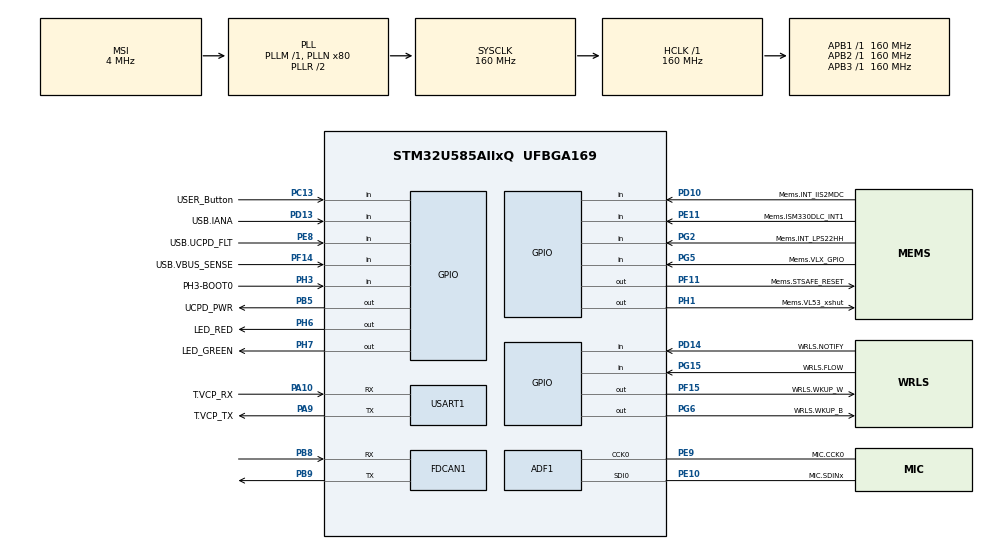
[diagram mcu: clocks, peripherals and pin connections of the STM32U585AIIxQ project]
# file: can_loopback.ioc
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CORTEX_M33_NS.userName=CORTEX_M33
FDCAN1.CalculateBaudRateNominal=1000000
FDCAN1.CalculateTimeBitNominal=1000
FDCAN1.CalculateTimeQuantumNominal=50.0
FDCAN1.DataPrescaler=4
FDCAN1.DataTimeSeg1=15
FDCAN1.DataTimeSeg2=4
FDCAN1.Mode=FDCAN_MODE_EXTERNAL_LOOPBACK
FDCAN1.NominalPrescaler=8
FDCAN1.NominalSyncJumpWidth=1
FDCAN1.NominalTimeSeg1=15
FDCAN1.NominalTimeSeg2=4
Mcu.Family=STM32U5
Mcu.Name=STM32U585AIIxQ
Mcu.Package=UFBGA169
NVIC.PriorityGroup=NVIC_PRIORITYGROUP_4
PA10.GPIO_Label=T.VCP_RX
PA10.Mode=Asynchronous
PA10.Signal=USART1_RX
PA11.GPIO_Label=USB.C_P
PA11.Signal=USB_OTG_FS_DM
PA12.GPIO_Label=USB.C_P
PA12.Signal=USB_OTG_FS_DP
PA13\ (JTMS/SWDIO).GPIO_Label=T.SWDIO
PA13\ (JTMS/SWDIO).Mode=Trace_Asynchronous_SW
PA13\ (JTMS/SWDIO).Signal=DEBUG_JTMS-SWDIO
PA14\ (JTCK/SWCLK).GPIO_Label=T.SWCLK
PA14\ (JTCK/SWCLK).Mode=Trace_Asynchronous_SW
PA14\ (JTCK/SWCLK).Signal=DEBUG_JTCK-SWCLK
PA15\ (JTDI).GPIO_Label=USB.UCPD_CC1
PA15\ (JTDI).Signal=UCPD1_CC1
PA9.GPIO_Label=T.VCP_TX
PA9.Mode=Asynchronous
PA9.Signal=USART1_TX
PB1.GPIO_Label=MIC.SDIN0
PB1.Signal=MDF1_SDI0
PB10.GPIO_Label=OCTOSPI.R_CLK_P
PB10.Signal=OCTOSPIM_P1_CLK
PB11.GPIO_Label=OCTOSPI.R_NCS
PB11.Signal=OCTOSPIM_P1_NCS
PB12.GPIO_Label=WRLS.SPI2_NSS
PB12.Signal=SPI2_NSS
PB15.GPIO_Label=USB.UCPD_CC2
PB15.Signal=UCPD1_CC2
PB3\ (JTDO/TRACESWO).GPIO_Label=T.SWO
PB3\ (JTDO/TRACESWO).Mode=Trace_Asynchronous_SW
PB3\ (JTDO/TRACESWO).Signal=DEBUG_JTDO-SWO
PB5.GPIO_Label=UCPD_PWR
PB5.Signal=GPIO_Output
PB8.Mode=FDCAN_Activate
PB8.Signal=FDCAN1_RX
PB9.Mode=FDCAN_Activate
PB9.Signal=FDCAN1_TX
PC10.GPIO_Label=WRLS.UART4_TX
PC10.Signal=UART4_TX
PC11.GPIO_Label=WRLS.UART4_RX
PC11.Signal=UART4_RX
PC13.GPIO_Label=USER_Button
PC13.Signal=GPIO_Input
PC14-OSC32_IN\ (PC14).GPIO_Label=PC14-OSC32_IN
PC14-OSC32_IN\ (PC14).Mode=LSE-External-Oscillator
PC14-OSC32_IN\ (PC14).Signal=RCC_OSC32_IN
PC15-OSC32_OUT\ (PC15).GPIO_Label=PC15-OSC32_OUT
PC15-OSC32_OUT\ (PC15).Mode=LSE-External-Oscillator
PC15-OSC32_OUT\ (PC15).Signal=RCC_OSC32_OUT
PC3.GPIO_Label=OCTOSPI.R_IO6
PC3.Signal=OCTOSPIM_P1_IO6
PD1.GPIO_Label=WRLS.SPI2_SCK
PD1.Signal=SPI2_SCK
PD10.GPIO_Label=Mems.INT_IIS2MDC
PD10.Signal=GPIO_Input
PD13.GPIO_Label=USB.IANA
PD13.Signal=GPIO_Input
PD14.GPIO_Label=WRLS.NOTIFY
PD14.Signal=GPIO_Input
PD3.GPIO_Label=WRLS.SPI2_MISO
PD3.Signal=SPI2_MISO
PD4.GPIO_Label=WRLS.SPI2_MOSI
PD4.Signal=SPI2_MOSI
PD7.GPIO_Label=OCTOSPI.R_IO7
PD7.Signal=OCTOSPIM_P1_IO7
PE10.GPIO_Label=MIC.SDINx
PE10.Mode=MOD_ADF_CCK
PE10.Signal=ADF1_SDI0
PE11.GPIO_Label=Mems.ISM330DLC_INT1
PE11.Signal=GPIO_Input
PE3.GPIO_Label=OCTOSPI.R_DQS
PE3.Signal=OCTOSPIM_P1_DQS
PE8.GPIO_Label=USB.UCPD_FLT
PE8.Signal=GPIO_Input
PE9.GPIO_Label=MIC.CCK0
PE9.Mode=MOD_MDF_CCK0
PE9.Signal=ADF1_CCK0
PF0.GPIO_Label=OCTOSPI.F_IO0
PF0.Signal=OCTOSPIM_P2_IO0
PF1.GPIO_Label=OCTOSPI.F_IO1
PF1.Signal=OCTOSPIM_P2_IO1
PF10.GPIO_Label=MIC.CCK1
PF10.Signal=MDF1_CCK1
PF11.GPIO_Label=Mems.STSAFE_RESET
PF11.Signal=GPIO_Output
PF12.GPIO_Label=OCTOSPI.F_DQS
PF12.Signal=OCTOSPIM_P2_DQS
PF14.GPIO_Label=USB.VBUS_SENSE
PF14.Signal=GPIO_Input
PF15.GPIO_Label=WRLS.WKUP_W
PF15.Signal=GPIO_Output
PF2.GPIO_Label=OCTOSPI.F_IO2
PF2.Signal=OCTOSPIM_P2_IO2
PF3.GPIO_Label=OCTOSPI.F_IO3
PF3.Signal=OCTOSPIM_P2_IO3
PF4.GPIO_Label=OCTOSPI.F_CLK_P
PF4.Signal=OCTOSPIM_P2_CLK
PF6.GPIO_Label=OCTOSPI.R_IO3
PF6.Signal=OCTOSPIM_P1_IO3
PF7.GPIO_Label=OCTOSPI.R_IO2
PF7.Signal=OCTOSPIM_P1_IO2
PF8.GPIO_Label=OCTOSPI.R_IO0
PF8.Signal=OCTOSPIM_P1_IO0
PF9.GPIO_Label=OCTOSPI.R_IO1
PF9.Signal=OCTOSPIM_P1_IO1
PG15.GPIO_Label=WRLS.FLOW
PG15.Signal=GPIO_Input
PG2.GPIO_Label=Mems.INT_LPS22HH
PG2.Signal=GPIO_Input
PG5.GPIO_Label=Mems.VLX_GPIO
PG5.Signal=GPIO_Input
PG6.GPIO_Label=WRLS.WKUP_B
PG6.Signal=GPIO_Output
PH1-OSC_OUT\ (PH1).GPIO_Label=Mems.VL53_xshut
PH1-OSC_OUT\ (PH1).Signal=GPIO_Output
PH10.GPIO_Label=OCTOSPI.F_IO5
PH10.Signal=OCTOSPIM_P2_IO5
PH11.GPIO_Label=OCTOSPI.F_IO6
PH11.Signal=OCTOSPIM_P2_IO6
PH12.GPIO_Label=OCTOSPI.F_IO7
PH12.Signal=OCTOSPIM_P2_IO7
PH2.GPIO_Label=OCTOSPI.R_IO4
PH2.Signal=OCTOSPIM_P1_IO4
PH3-BOOT0.GPIO_Label=PH3-BOOT0
PH3-BOOT0.Signal=GPIO_Input
PH4.Signal=I2C2_SCL
PH5.Signal=I2C2_SDA
PH6.GPIO_Label=LED_RED
PH6.Signal=GPIO_Output
PH7.GPIO_Label=LED_GREEN
PH7.Signal=GPIO_Output
PH9.GPIO_Label=OCTOSPI.F_IO4
PH9.Signal=OCTOSPIM_P2_IO4
PI0.GPIO_Label=OCTOSPI.R_IO5
PI0.Signal=OCTOSPIM_P1_IO5
PI5.GPIO_Label=OCTOSPI.F_NCS
PI5.Signal=OCTOSPIM_P2_NCS
PWR.PowerMode=PWR_SMPS_SUPPLY
ProjectManager.HeapSize=0x200
ProjectManager.StackSize=0x400
ProjectManager.TargetToolchain=STM32CubeIDE
RCC.ADCFreq_Value=16000000
RCC.AHBFreq_Value=160000000
RCC.APB1Freq_Value=160000000
RCC.APB1TimFreq_Value=160000000
RCC.APB2Freq_Value=160000000
RCC.APB2TimFreq_Value=160000000
RCC.APB3Freq_Value=160000000
RCC.CortexFreq_Value=160000000
RCC.DACCLockSelectionVirtual=RCC_DAC1CLKSOURCE_LSI
RCC.EPOD_VALUE=4000000
RCC.HCLKFreq_Value=160000000
RCC.HSE_VALUE=16000000
RCC.HSI48_VALUE=48000000
RCC.HSI_VALUE=16000000
RCC.LSIDIV_VALUE=32000
RCC.MSI_VALUE=4000000
RCC.PLLN=80
RCC.SYSCLKFreq_VALUE=160000000
RCC.SYSCLKSource=RCC_SYSCLKSOURCE_PLLCLK
RCC.USBFreq_Value=48000000
RCC.VCOOutputFreq_Value=320000000
USART1.VirtualMode-Asynchronous=VM_ASYNC
VP_ICACHE_VS_ICACHE.Mode=DirectMappedCache
VP_LPBAMQUEUE_VS_QUEUE.Mode=QUEUEMODE
VP_LPBAM_VS_SIG1.Mode=SmartRun
VP_LPBAM_VS_SIG4.Mode=LPDMA1
VP_MEMORYMAP_VS_MEMORYMAP.Mode=CurAppReg
VP_PWR_VS_DBSignals.Mode=DisableDeadBatterySignals
VP_PWR_VS_LPOM.Mode=PowerOptimisation
VP_PWR_VS_SECSignals.Mode=Security/Privilege
board=B-U585I-IOT02A

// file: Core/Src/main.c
/* USER CODE BEGIN Header */
/**
  ******************************************************************************
  * @file           : main.c
  * @brief          : Main program body
  ******************************************************************************
  * @attention
  *
  * Copyright (c) 2026 STMicroelectronics.
  * All rights reserved.
  *
  * This software is licensed under terms that can be found in the LICENSE file
  * in the root directory of this software component.
  * If no LICENSE file comes with this software, it is provided AS-IS.
  *
  ******************************************************************************
  */
/* USER CODE END Header */
#include "main.h"

/* USER CODE BEGIN Includes */
#include <stdio.h>
/* USER CODE END Includes */

MDF_HandleTypeDef AdfHandle0;
MDF_FilterConfigTypeDef AdfFilterConfig0;

FDCAN_HandleTypeDef hfdcan1;

UART_HandleTypeDef huart1;

/* USER CODE BEGIN PV */
static FDCAN_FilterTypeDef   sFilterConfig;
/* USER CODE END PV */

void SystemClock_Config(void);
static void SystemPower_Config(void);
static void MX_GPIO_Init(void);
static void MX_ADF1_Init(void);
static void MX_FDCAN1_Init(void);
static void MX_ICACHE_Init(void);
static void MX_USART1_UART_Init(void);

/* USER CODE BEGIN 0 */
int __io_putchar(int ch)
{
    /* Support printf over UART */
    (void)HAL_UART_Transmit(&huart1, (uint8_t*)&ch, 1, 0xFFFFU);
    return ch;
}

void my_fdcan1_transmit()
{
	FDCAN_TxHeaderTypeDef TxHeader;
	uint8_t TxData[] = {'S', 'T', 'M', '3','2','M','C','U'}; // Example data

	// 1. Configure the TX Header
	TxHeader.Identifier = 0x111U;                // CAN ID
	TxHeader.IdType = FDCAN_STANDARD_ID; //standard or extended
	TxHeader.TxFrameType = FDCAN_DATA_FRAME; //data frame or request frame
	//TODO: Data length
	TxHeader.DataLength = FDCAN_DLC_BYTES_8;    // Length 4 bytes
	TxHeader.ErrorStateIndicator = FDCAN_ESI_ACTIVE;
	TxHeader.BitRateSwitch = FDCAN_BRS_OFF;     // No BRS for classic CAN
	TxHeader.FDFormat = FDCAN_CLASSIC_CAN;      // Classic or FD format
	TxHeader.TxEventFifoControl = FDCAN_NO_TX_EVENTS;
	TxHeader.MessageMarker = 0;

	// 2. Transmit the message
	if (HAL_FDCAN_AddMessageToTxFifoQ(&hfdcan1, &TxHeader, TxData) != HAL_OK)
	{
		printf("Stm32u585 Error calling HAL_FDCAN_AddMessageToTxFifoQ\r\n");
	  // Transmission error
	  Error_Handler();
	}
	while(HAL_FDCAN_IsTxBufferMessagePending(&hfdcan1, FDCAN_TX_BUFFER0 | FDCAN_TX_BUFFER1 | FDCAN_TX_BUFFER2) != 0);
	printf("Stm32u585 Transmitted %lu bytes\r\n",TxHeader.DataLength);

}

void my_fdcan1_receive()
{
	FDCAN_RxHeaderTypeDef RxHeader;
	uint8_t RxData[16];

	/* check if FIFO 0 receive at least one message */
	while (HAL_FDCAN_GetRxFifoFillLevel(&hfdcan1, FDCAN_RX_FIFO0) < 1U);

	if(HAL_FDCAN_GetRxMessage(&hfdcan1, FDCAN_RX_FIFO0, &RxHeader, RxData) != HAL_OK)
	{
		printf("Stm32u585 Error calling HAL_FDCAN_GetRxMessage\r\n");
		Error_Handler();
	}
	else
	{
		printf("Message Received HAL_FDCAN_GetRxMessage\r\n");
		for(int i = 0; i < 8; ++i)
		{
			printf("RxData[%d] = %c\r\n",i,RxData[i]);
		}
	}
}

void my_config_filter()
{
	/* Configure Rx filter */
	sFilterConfig.IdType       = FDCAN_STANDARD_ID;
	sFilterConfig.FilterIndex  = 0U;
	sFilterConfig.FilterType   = FDCAN_FILTER_MASK;
	sFilterConfig.FilterConfig = FDCAN_FILTER_TO_RXFIFO0;
	sFilterConfig.FilterID1    = 0x111U;
	sFilterConfig.FilterID2    = 0x7FFU;
	if (HAL_FDCAN_ConfigFilter(&hfdcan1, &sFilterConfig) != HAL_OK) {
		printf("Stm32u585 Error calling HAL_FDCAN_ConfigFilter\r\n");
		Error_Handler();
	}
}
/* USER CODE END 0 */

int main(void)
{

  /* MCU Configuration--------------------------------------------------------*/

  /* Reset of all peripherals, Initializes the Flash interface and the Systick. */
  HAL_Init();

  /* Configure the System Power */
  SystemPower_Config();

  /* Configure the system clock */
  SystemClock_Config();

  /* Initialize all configured peripherals */
  MX_GPIO_Init();
  MX_ADF1_Init();
  MX_FDCAN1_Init();
  MX_ICACHE_Init();
  MX_USART1_UART_Init();

  /* Infinite loop */
  /* USER CODE BEGIN WHILE */

  /* Configure Config filter for Rx*/
  my_config_filter();
  /* Start the FDCANx module */
  if (HAL_FDCAN_Start(&hfdcan1) != HAL_OK)
  {
	  printf("Stm32u585 Error calling HAL_FDCAN_Start\r\n");
	  Error_Handler();
  }
  printf("Stm32u585 testing\r\n");

  my_fdcan1_transmit();

  my_fdcan1_receive();

  while (1)
  {
    /* USER CODE END WHILE */

  }
}

void SystemClock_Config(void)
{
  RCC_OscInitTypeDef RCC_OscInitStruct = {0};
  RCC_ClkInitTypeDef RCC_ClkInitStruct = {0};

  /** Configure the main internal regulator output voltage
  */
  if (HAL_PWREx_ControlVoltageScaling(PWR_REGULATOR_VOLTAGE_SCALE1) != HAL_OK)
  {
    Error_Handler();
  }

  /** Initializes the CPU, AHB and APB buses clocks
  */
  RCC_OscInitStruct.OscillatorType = RCC_OSCILLATORTYPE_MSI;
  RCC_OscInitStruct.MSIState = RCC_MSI_ON;
  RCC_OscInitStruct.MSICalibrationValue = RCC_MSICALIBRATION_DEFAULT;
  RCC_OscInitStruct.MSIClockRange = RCC_MSIRANGE_4;
  RCC_OscInitStruct.PLL.PLLState = RCC_PLL_ON;
  RCC_OscInitStruct.PLL.PLLSource = RCC_PLLSOURCE_MSI;
  RCC_OscInitStruct.PLL.PLLMBOOST = RCC_PLLMBOOST_DIV1;
  RCC_OscInitStruct.PLL.PLLM = 1;
  RCC_OscInitStruct.PLL.PLLN = 80;
  RCC_OscInitStruct.PLL.PLLP = 2;
  RCC_OscInitStruct.PLL.PLLQ = 2;
  RCC_OscInitStruct.PLL.PLLR = 2;
  RCC_OscInitStruct.PLL.PLLRGE = RCC_PLLVCIRANGE_0;
  RCC_OscInitStruct.PLL.PLLFRACN = 0;
  if (HAL_RCC_OscConfig(&RCC_OscInitStruct) != HAL_OK)
  {
    Error_Handler();
  }

  /** Initializes the CPU, AHB and APB buses clocks
  */
  RCC_ClkInitStruct.ClockType = RCC_CLOCKTYPE_HCLK|RCC_CLOCKTYPE_SYSCLK
                              |RCC_CLOCKTYPE_PCLK1|RCC_CLOCKTYPE_PCLK2
                              |RCC_CLOCKTYPE_PCLK3;
  RCC_ClkInitStruct.SYSCLKSource = RCC_SYSCLKSOURCE_PLLCLK;
  RCC_ClkInitStruct.AHBCLKDivider = RCC_SYSCLK_DIV1;
  RCC_ClkInitStruct.APB1CLKDivider = RCC_HCLK_DIV1;
  RCC_ClkInitStruct.APB2CLKDivider = RCC_HCLK_DIV1;
  RCC_ClkInitStruct.APB3CLKDivider = RCC_HCLK_DIV1;

  if (HAL_RCC_ClockConfig(&RCC_ClkInitStruct, FLASH_LATENCY_4) != HAL_OK)
  {
    Error_Handler();
  }
}

/**
  * @brief Power Configuration
  * @retval None
  */
static void SystemPower_Config(void)
{
  HAL_PWREx_EnableVddIO2();

  /*
   * Disable the internal Pull-Up in Dead Battery pins of UCPD peripheral
   */
  HAL_PWREx_DisableUCPDDeadBattery();

  /*
   * Switch to SMPS regulator instead of LDO
   */
  if (HAL_PWREx_ConfigSupply(PWR_SMPS_SUPPLY) != HAL_OK)
  {
    Error_Handler();
  }
}

static void MX_ADF1_Init(void)
{

  /**
    AdfHandle0 structure initialization and HAL_MDF_Init function call
  */
  AdfHandle0.Instance = ADF1_Filter0;
  AdfHandle0.Init.CommonParam.ProcClockDivider = 1;
  AdfHandle0.Init.CommonParam.OutputClock.Activation = DISABLE;
  AdfHandle0.Init.SerialInterface.Activation = ENABLE;
  AdfHandle0.Init.SerialInterface.Mode = MDF_SITF_LF_MASTER_SPI_MODE;
  AdfHandle0.Init.SerialInterface.ClockSource = MDF_SITF_CCK0_SOURCE;
  AdfHandle0.Init.SerialInterface.Threshold = 4;
  AdfHandle0.Init.FilterBistream = MDF_BITSTREAM0_FALLING;
  if (HAL_MDF_Init(&AdfHandle0) != HAL_OK)
  {
    Error_Handler();
  }

  /**
    AdfFilterConfig0 structure initialization

    WARNING : only structure is filled, no specific init function call for filter
  */
  AdfFilterConfig0.DataSource = MDF_DATA_SOURCE_BSMX;
  AdfFilterConfig0.Delay = 0;
  AdfFilterConfig0.CicMode = MDF_ONE_FILTER_SINC4;
  AdfFilterConfig0.DecimationRatio = 2;
  AdfFilterConfig0.Gain = 0;
  AdfFilterConfig0.ReshapeFilter.Activation = DISABLE;
  AdfFilterConfig0.HighPassFilter.Activation = DISABLE;
  AdfFilterConfig0.SoundActivity.Activation = DISABLE;
  AdfFilterConfig0.AcquisitionMode = MDF_MODE_ASYNC_CONT;
  AdfFilterConfig0.FifoThreshold = MDF_FIFO_THRESHOLD_NOT_EMPTY;
  AdfFilterConfig0.DiscardSamples = 0;

}

static void MX_FDCAN1_Init(void)
{

  hfdcan1.Instance = FDCAN1;
  hfdcan1.Init.ClockDivider = FDCAN_CLOCK_DIV1;
  hfdcan1.Init.FrameFormat = FDCAN_FRAME_CLASSIC;
  hfdcan1.Init.Mode = FDCAN_MODE_EXTERNAL_LOOPBACK;
  hfdcan1.Init.AutoRetransmission = DISABLE;
  hfdcan1.Init.TransmitPause = DISABLE;
  hfdcan1.Init.ProtocolException = DISABLE;
  hfdcan1.Init.NominalPrescaler = 8;
  hfdcan1.Init.NominalSyncJumpWidth = 1;
  hfdcan1.Init.NominalTimeSeg1 = 15;
  hfdcan1.Init.NominalTimeSeg2 = 4;
  hfdcan1.Init.DataPrescaler = 4;
  hfdcan1.Init.DataSyncJumpWidth = 1;
  hfdcan1.Init.DataTimeSeg1 = 15;
  hfdcan1.Init.DataTimeSeg2 = 4;
  hfdcan1.Init.StdFiltersNbr = 0;
  hfdcan1.Init.ExtFiltersNbr = 0;
  hfdcan1.Init.TxFifoQueueMode = FDCAN_TX_FIFO_OPERATION;
  if (HAL_FDCAN_Init(&hfdcan1) != HAL_OK)
  {
    Error_Handler();
  }

}

static void MX_ICACHE_Init(void)
{

  /** Enable instruction cache in 1-way (direct mapped cache)
  */
  if (HAL_ICACHE_ConfigAssociativityMode(ICACHE_1WAY) != HAL_OK)
  {
    Error_Handler();
  }
  if (HAL_ICACHE_Enable() != HAL_OK)
  {
    Error_Handler();
  }

}

static void MX_USART1_UART_Init(void)
{

  huart1.Instance = USART1;
  huart1.Init.BaudRate = 115200;
  huart1.Init.WordLength = UART_WORDLENGTH_8B;
  huart1.Init.StopBits = UART_STOPBITS_1;
  huart1.Init.Parity = UART_PARITY_NONE;
  huart1.Init.Mode = UART_MODE_TX_RX;
  huart1.Init.HwFlowCtl = UART_HWCONTROL_NONE;
  huart1.Init.OverSampling = UART_OVERSAMPLING_16;
  huart1.Init.OneBitSampling = UART_ONE_BIT_SAMPLE_DISABLE;
  huart1.Init.ClockPrescaler = UART_PRESCALER_DIV1;
  huart1.AdvancedInit.AdvFeatureInit = UART_ADVFEATURE_NO_INIT;
  if (HAL_UART_Init(&huart1) != HAL_OK)
  {
    Error_Handler();
  }
  if (HAL_UARTEx_SetTxFifoThreshold(&huart1, UART_TXFIFO_THRESHOLD_1_8) != HAL_OK)
  {
    Error_Handler();
  }
  if (HAL_UARTEx_SetRxFifoThreshold(&huart1, UART_RXFIFO_THRESHOLD_1_8) != HAL_OK)
  {
    Error_Handler();
  }
  if (HAL_UARTEx_DisableFifoMode(&huart1) != HAL_OK)
  {
    Error_Handler();
  }

}

static void MX_GPIO_Init(void)
{
  GPIO_InitTypeDef GPIO_InitStruct = {0};

  /* GPIO Ports Clock Enable */
  __HAL_RCC_GPIOG_CLK_ENABLE();
  __HAL_RCC_GPIOC_CLK_ENABLE();
  __HAL_RCC_GPIOA_CLK_ENABLE();
  __HAL_RCC_GPIOI_CLK_ENABLE();
  __HAL_RCC_GPIOH_CLK_ENABLE();
  __HAL_RCC_GPIOB_CLK_ENABLE();
  __HAL_RCC_GPIOD_CLK_ENABLE();
  __HAL_RCC_GPIOE_CLK_ENABLE();
  __HAL_RCC_GPIOF_CLK_ENABLE();

  /*Configure GPIO pin Output Level */
  HAL_GPIO_WritePin(UCPD_PWR_GPIO_Port, UCPD_PWR_Pin, GPIO_PIN_RESET);

  /*Configure GPIO pin Output Level */
  HAL_GPIO_WritePin(GPIOH, LED_RED_Pin|LED_GREEN_Pin|Mems_VL53_xshut_Pin, GPIO_PIN_RESET);

  /*Configure GPIO pin Output Level */
  HAL_GPIO_WritePin(WRLS_WKUP_B_GPIO_Port, WRLS_WKUP_B_Pin, GPIO_PIN_RESET);

  /*Configure GPIO pin Output Level */
  HAL_GPIO_WritePin(GPIOF, Mems_STSAFE_RESET_Pin|WRLS_WKUP_W_Pin, GPIO_PIN_RESET);

  /*Configure GPIO pins : WRLS_FLOW_Pin Mems_VLX_GPIO_Pin Mems_INT_LPS22HH_Pin */
  GPIO_InitStruct.Pin = WRLS_FLOW_Pin|Mems_VLX_GPIO_Pin|Mems_INT_LPS22HH_Pin;
  GPIO_InitStruct.Mode = GPIO_MODE_INPUT;
  GPIO_InitStruct.Pull = GPIO_NOPULL;
  HAL_GPIO_Init(GPIOG, &GPIO_InitStruct);

  /*Configure GPIO pins : WRLS_UART4_RX_Pin WRLS_UART4_TX_Pin */
  GPIO_InitStruct.Pin = WRLS_UART4_RX_Pin|WRLS_UART4_TX_Pin;
  GPIO_InitStruct.Mode = GPIO_MODE_AF_PP;
  GPIO_InitStruct.Pull = GPIO_NOPULL;
  GPIO_InitStruct.Speed = GPIO_SPEED_FREQ_LOW;
  GPIO_InitStruct.Alternate = GPIO_AF8_UART4;
  HAL_GPIO_Init(GPIOC, &GPIO_InitStruct);

  /*Configure GPIO pin : USB_UCPD_CC1_Pin */
  GPIO_InitStruct.Pin = USB_UCPD_CC1_Pin;
  GPIO_InitStruct.Mode = GPIO_MODE_ANALOG;
  GPIO_InitStruct.Pull = GPIO_NOPULL;
  HAL_GPIO_Init(USB_UCPD_CC1_GPIO_Port, &GPIO_InitStruct);

  /*Configure GPIO pin : OCTOSPI_F_NCS_Pin */
  GPIO_InitStruct.Pin = OCTOSPI_F_NCS_Pin;
  GPIO_InitStruct.Mode = GPIO_MODE_AF_PP;
  GPIO_InitStruct.Pull = GPIO_NOPULL;
  GPIO_InitStruct.Speed = GPIO_SPEED_FREQ_VERY_HIGH;
  GPIO_InitStruct.Alternate = GPIO_AF5_OCTOSPI2;
  HAL_GPIO_Init(OCTOSPI_F_NCS_GPIO_Port, &GPIO_InitStruct);

  /*Configure GPIO pin : OCTOSPI_R_IO5_Pin */
  GPIO_InitStruct.Pin = OCTOSPI_R_IO5_Pin;
  GPIO_InitStruct.Mode = GPIO_MODE_AF_PP;
  GPIO_InitStruct.Pull = GPIO_NOPULL;
  GPIO_InitStruct.Speed = GPIO_SPEED_FREQ_VERY_HIGH;
  GPIO_InitStruct.Alternate = GPIO_AF3_OCTOSPI1;
  HAL_GPIO_Init(OCTOSPI_R_IO5_GPIO_Port, &GPIO_InitStruct);

  /*Configure GPIO pins : OCTOSPI_F_IO7_Pin OCTOSPI_F_IO5_Pin OCTOSPI_F_IO6_Pin OCTOSPI_F_IO4_Pin */
  GPIO_InitStruct.Pin = OCTOSPI_F_IO7_Pin|OCTOSPI_F_IO5_Pin|OCTOSPI_F_IO6_Pin|OCTOSPI_F_IO4_Pin;
  GPIO_InitStruct.Mode = GPIO_MODE_AF_PP;
  GPIO_InitStruct.Pull = GPIO_NOPULL;
  GPIO_InitStruct.Speed = GPIO_SPEED_FREQ_VERY_HIGH;
  GPIO_InitStruct.Alternate = GPIO_AF5_OCTOSPI2;
  HAL_GPIO_Init(GPIOH, &GPIO_InitStruct);

  /*Configure GPIO pin : PH3_BOOT0_Pin */
  GPIO_InitStruct.Pin = PH3_BOOT0_Pin;
  GPIO_InitStruct.Mode = GPIO_MODE_INPUT;
  GPIO_InitStruct.Pull = GPIO_NOPULL;
  HAL_GPIO_Init(PH3_BOOT0_GPIO_Port, &GPIO_InitStruct);

  /*Configure GPIO pin : UCPD_PWR_Pin */
  GPIO_InitStruct.Pin = UCPD_PWR_Pin;
  GPIO_InitStruct.Mode = GPIO_MODE_OUTPUT_PP;
  GPIO_InitStruct.Pull = GPIO_NOPULL;
  GPIO_InitStruct.Speed = GPIO_SPEED_FREQ_LOW;
  HAL_GPIO_Init(UCPD_PWR_GPIO_Port, &GPIO_InitStruct);

  /*Configure GPIO pins : WRLS_SPI2_MOSI_Pin WRLS_SPI2_MISO_Pin WRLS_SPI2_SCK_Pin */
  GPIO_InitStruct.Pin = WRLS_SPI2_MOSI_Pin|WRLS_SPI2_MISO_Pin|WRLS_SPI2_SCK_Pin;
  GPIO_InitStruct.Mode = GPIO_MODE_AF_PP;
  GPIO_InitStruct.Pull = GPIO_NOPULL;
  GPIO_InitStruct.Speed = GPIO_SPEED_FREQ_LOW;
  GPIO_InitStruct.Alternate = GPIO_AF5_SPI2;
  HAL_GPIO_Init(GPIOD, &GPIO_InitStruct);

  /*Configure GPIO pin : OCTOSPI_R_DQS_Pin */
  GPIO_InitStruct.Pin = OCTOSPI_R_DQS_Pin;
  GPIO_InitStruct.Mode = GPIO_MODE_AF_PP;
  GPIO_InitStruct.Pull = GPIO_NOPULL;
  GPIO_InitStruct.Speed = GPIO_SPEED_FREQ_VERY_HIGH;
  GPIO_InitStruct.Alternate = GPIO_AF3_OCTOSPI1;
  HAL_GPIO_Init(OCTOSPI_R_DQS_GPIO_Port, &GPIO_InitStruct);

  /*Configure GPIO pin : OCTOSPI_R_IO7_Pin */
  GPIO_InitStruct.Pin = OCTOSPI_R_IO7_Pin;
  GPIO_InitStruct.Mode = GPIO_MODE_AF_PP;
  GPIO_InitStruct.Pull = GPIO_NOPULL;
  GPIO_InitStruct.Speed = GPIO_SPEED_FREQ_VERY_HIGH;
  GPIO_InitStruct.Alternate = GPIO_AF10_OCTOSPI1;
  HAL_GPIO_Init(OCTOSPI_R_IO7_GPIO_Port, &GPIO_InitStruct);

  /*Configure GPIO pins : OCTOSPI_F_IO0_Pin OCTOSPI_F_IO1_Pin OCTOSPI_F_IO2_Pin OCTOSPI_F_IO3_Pin
                           OCTOSPI_F_CLK_P_Pin OCTOSPI_F_DQS_Pin */
  GPIO_InitStruct.Pin = OCTOSPI_F_IO0_Pin|OCTOSPI_F_IO1_Pin|OCTOSPI_F_IO2_Pin|OCTOSPI_F_IO3_Pin
                          |OCTOSPI_F_CLK_P_Pin|OCTOSPI_F_DQS_Pin;
  GPIO_InitStruct.Mode = GPIO_MODE_AF_PP;
  GPIO_InitStruct.Pull = GPIO_NOPULL;
  GPIO_InitStruct.Speed = GPIO_SPEED_FREQ_VERY_HIGH;
  GPIO_InitStruct.Alternate = GPIO_AF5_OCTOSPI2;
  HAL_GPIO_Init(GPIOF, &GPIO_InitStruct);

  /*Configure GPIO pin : USER_Button_Pin */
  GPIO_InitStruct.Pin = USER_Button_Pin;
  GPIO_InitStruct.Mode = GPIO_MODE_INPUT;
  GPIO_InitStruct.Pull = GPIO_NOPULL;
  HAL_GPIO_Init(USER_Button_GPIO_Port, &GPIO_InitStruct);

  /*Configure GPIO pins : PH4 PH5 */
  GPIO_InitStruct.Pin = GPIO_PIN_4|GPIO_PIN_5;
  GPIO_InitStruct.Mode = GPIO_MODE_AF_OD;
  GPIO_InitStruct.Pull = GPIO_NOPULL;
  GPIO_InitStruct.Speed = GPIO_SPEED_FREQ_LOW;
  GPIO_InitStruct.Alternate = GPIO_AF4_I2C2;
  HAL_GPIO_Init(GPIOH, &GPIO_InitStruct);

  /*Configure GPIO pins : LED_RED_Pin LED_GREEN_Pin Mems_VL53_xshut_Pin */
  GPIO_InitStruct.Pin = LED_RED_Pin|LED_GREEN_Pin|Mems_VL53_xshut_Pin;
  GPIO_InitStruct.Mode = GPIO_MODE_OUTPUT_PP;
  GPIO_InitStruct.Pull = GPIO_NOPULL;
  GPIO_InitStruct.Speed = GPIO_SPEED_FREQ_LOW;
  HAL_GPIO_Init(GPIOH, &GPIO_InitStruct);

  /*Configure GPIO pins : OCTOSPI_R_IO0_Pin OCTOSPI_R_IO2_Pin OCTOSPI_R_IO1_Pin OCTOSPI_R_IO3_Pin */
  GPIO_InitStruct.Pin = OCTOSPI_R_IO0_Pin|OCTOSPI_R_IO2_Pin|OCTOSPI_R_IO1_Pin|OCTOSPI_R_IO3_Pin;
  GPIO_InitStruct.Mode = GPIO_MODE_AF_PP;
  GPIO_InitStruct.Pull = GPIO_NOPULL;
  GPIO_InitStruct.Speed = GPIO_SPEED_FREQ_VERY_HIGH;
  GPIO_InitStruct.Alternate = GPIO_AF10_OCTOSPI1;
  HAL_GPIO_Init(GPIOF, &GPIO_InitStruct);

  /*Configure GPIO pin : OCTOSPI_R_IO4_Pin */
  GPIO_InitStruct.Pin = OCTOSPI_R_IO4_Pin;
  GPIO_InitStruct.Mode = GPIO_MODE_AF_PP;
  GPIO_InitStruct.Pull = GPIO_NOPULL;
  GPIO_InitStruct.Speed = GPIO_SPEED_FREQ_VERY_HIGH;
  GPIO_InitStruct.Alternate = GPIO_AF3_OCTOSPI1;
  HAL_GPIO_Init(OCTOSPI_R_IO4_GPIO_Port, &GPIO_InitStruct);

  /*Configure GPIO pins : USB_C_P_Pin USB_C_PA11_Pin */
  GPIO_InitStruct.Pin = USB_C_P_Pin|USB_C_PA11_Pin;
  GPIO_InitStruct.Mode = GPIO_MODE_AF_PP;
  GPIO_InitStruct.Pull = GPIO_NOPULL;
  GPIO_InitStruct.Speed = GPIO_SPEED_FREQ_LOW;
  GPIO_InitStruct.Alternate = GPIO_AF10_USB;
  HAL_GPIO_Init(GPIOA, &GPIO_InitStruct);

  /*Configure GPIO pin : MIC_CCK1_Pin */
  GPIO_InitStruct.Pin = MIC_CCK1_Pin;
  GPIO_InitStruct.Mode = GPIO_MODE_AF_PP;
  GPIO_InitStruct.Pull = GPIO_NOPULL;
  GPIO_InitStruct.Speed = GPIO_SPEED_FREQ_LOW;
  GPIO_InitStruct.Alternate = GPIO_AF6_MDF1;
  HAL_GPIO_Init(MIC_CCK1_GPIO_Port, &GPIO_InitStruct);

  /*Configure GPIO pin : WRLS_WKUP_B_Pin */
  GPIO_InitStruct.Pin = WRLS_WKUP_B_Pin;
  GPIO_InitStruct.Mode = GPIO_MODE_OUTPUT_PP;
  GPIO_InitStruct.Pull = GPIO_NOPULL;
  GPIO_InitStruct.Speed = GPIO_SPEED_FREQ_LOW;
  HAL_GPIO_Init(WRLS_WKUP_B_GPIO_Port, &GPIO_InitStruct);

  /*Configure GPIO pins : WRLS_NOTIFY_Pin Mems_INT_IIS2MDC_Pin USB_IANA_Pin */
  GPIO_InitStruct.Pin = WRLS_NOTIFY_Pin|Mems_INT_IIS2MDC_Pin|USB_IANA_Pin;
  GPIO_InitStruct.Mode = GPIO_MODE_INPUT;
  GPIO_InitStruct.Pull = GPIO_NOPULL;
  HAL_GPIO_Init(GPIOD, &GPIO_InitStruct);

  /*Configure GPIO pin : OCTOSPI_R_IO6_Pin */
  GPIO_InitStruct.Pin = OCTOSPI_R_IO6_Pin;
  GPIO_InitStruct.Mode = GPIO_MODE_AF_PP;
  GPIO_InitStruct.Pull = GPIO_NOPULL;
  GPIO_InitStruct.Speed = GPIO_SPEED_FREQ_VERY_HIGH;
  GPIO_InitStruct.Alternate = GPIO_AF10_OCTOSPI1;
  HAL_GPIO_Init(OCTOSPI_R_IO6_GPIO_Port, &GPIO_InitStruct);

  /*Configure GPIO pins : USB_UCPD_FLT_Pin Mems_ISM330DLC_INT1_Pin */
  GPIO_InitStruct.Pin = USB_UCPD_FLT_Pin|Mems_ISM330DLC_INT1_Pin;
  GPIO_InitStruct.Mode = GPIO_MODE_INPUT;
  GPIO_InitStruct.Pull = GPIO_NOPULL;
  HAL_GPIO_Init(GPIOE, &GPIO_InitStruct);

  /*Configure GPIO pins : OCTOSPI_R_CLK_P_Pin OCTOSPI_R_NCS_Pin */
  GPIO_InitStruct.Pin = OCTOSPI_R_CLK_P_Pin|OCTOSPI_R_NCS_Pin;
  GPIO_InitStruct.Mode = GPIO_MODE_AF_PP;
  GPIO_InitStruct.Pull = GPIO_NOPULL;
  GPIO_InitStruct.Speed = GPIO_SPEED_FREQ_VERY_HIGH;
  GPIO_InitStruct.Alternate = GPIO_AF10_OCTOSPI1;
  HAL_GPIO_Init(GPIOB, &GPIO_InitStruct);

  /*Configure GPIO pin : USB_VBUS_SENSE_Pin */
  GPIO_InitStruct.Pin = USB_VBUS_SENSE_Pin;
  GPIO_InitStruct.Mode = GPIO_MODE_INPUT;
  GPIO_InitStruct.Pull = GPIO_NOPULL;
  HAL_GPIO_Init(USB_VBUS_SENSE_GPIO_Port, &GPIO_InitStruct);

  /*Configure GPIO pin : WRLS_SPI2_NSS_Pin */
  GPIO_InitStruct.Pin = WRLS_SPI2_NSS_Pin;
  GPIO_InitStruct.Mode = GPIO_MODE_AF_PP;
  GPIO_InitStruct.Pull = GPIO_NOPULL;
  GPIO_InitStruct.Speed = GPIO_SPEED_FREQ_LOW;
  GPIO_InitStruct.Alternate = GPIO_AF5_SPI2;
  HAL_GPIO_Init(WRLS_SPI2_NSS_GPIO_Port, &GPIO_InitStruct);

  /*Configure GPIO pin : USB_UCPD_CC2_Pin */
  GPIO_InitStruct.Pin = USB_UCPD_CC2_Pin;
  GPIO_InitStruct.Mode = GPIO_MODE_ANALOG;
  GPIO_InitStruct.Pull = GPIO_NOPULL;
  HAL_GPIO_Init(USB_UCPD_CC2_GPIO_Port, &GPIO_InitStruct);

  /*Configure GPIO pins : Mems_STSAFE_RESET_Pin WRLS_WKUP_W_Pin */
  GPIO_InitStruct.Pin = Mems_STSAFE_RESET_Pin|WRLS_WKUP_W_Pin;
  GPIO_InitStruct.Mode = GPIO_MODE_OUTPUT_PP;
  GPIO_InitStruct.Pull = GPIO_NOPULL;
  GPIO_InitStruct.Speed = GPIO_SPEED_FREQ_LOW;
  HAL_GPIO_Init(GPIOF, &GPIO_InitStruct);

  /*Configure GPIO pin : MIC_SDIN0_Pin */
  GPIO_InitStruct.Pin = MIC_SDIN0_Pin;
  GPIO_InitStruct.Mode = GPIO_MODE_AF_PP;
  GPIO_InitStruct.Pull = GPIO_NOPULL;
  GPIO_InitStruct.Speed = GPIO_SPEED_FREQ_LOW;
  GPIO_InitStruct.Alternate = GPIO_AF6_MDF1;
  HAL_GPIO_Init(MIC_SDIN0_GPIO_Port, &GPIO_InitStruct);

}

void Error_Handler(void)
{
  __disable_irq();
  while (1)
  {
  }
}
